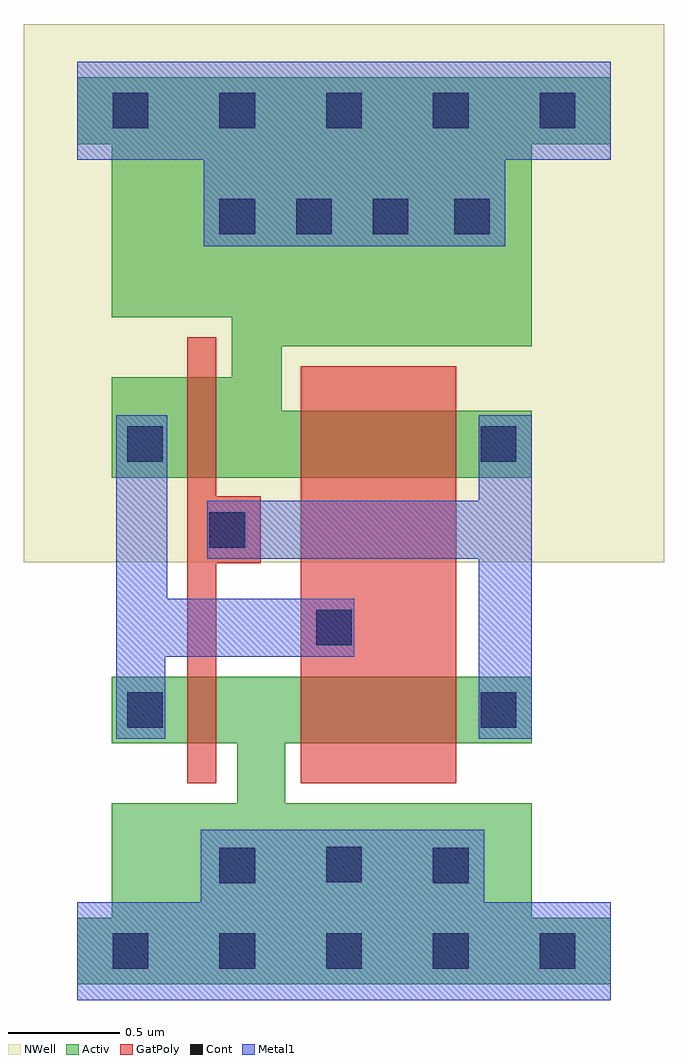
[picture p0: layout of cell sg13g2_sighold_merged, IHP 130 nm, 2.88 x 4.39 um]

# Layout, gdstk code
import gdstk
lib = gdstk.Library(unit=1e-6, precision=1e-09)
def R(c, l, rs):  # rectangles x0, y0, x1, y1
    for r in rs: c.add(gdstk.rectangle(r[:2], r[2:], *l))
def A(c, l, x, y, w, h, nx, ny, dx, dy):  # array of equal rectangles
    R(c, l, [(x+i*dx, y+j*dy, x+i*dx+w, y+j*dy+h) for i in range(nx) for j in range(ny)])
def P(c, l, *ps):  # polygons
    for p in ps: c.add(gdstk.Polygon(p, *l))
Activ = (1, 0)
GatPoly = (5, 0)
Cont = (6, 0)
Metal1 = (8, 0)
NWell = (31, 0)

sg13g2_sighold_merged = lib.new_cell('sg13g2_sighold_merged')
P(sg13g2_sighold_merged, Activ, [(0,-0.15),(0,0.15),(0.155,0.15),(0.155,0.665),(0.72,0.665),(0.72,0.935),(0.155,0.935),(0.155,1.235),(2.045,1.235),(2.045,0.935),(0.935,0.935),(0.935,0.665),(2.045,0.665),(2.045,0.15),(2.4,0.15),(2.4,-0.15)],
  [(0.155,2.13),(0.155,2.58),(0.695,2.58),(0.695,2.85),(0.155,2.85),(0.155,3.63),(0,3.63),(0,3.93),(2.4,3.93),(2.4,3.63),(2.045,3.63),(2.045,2.72),(0.92,2.72),(0.92,2.43),(2.045,2.43),(2.045,2.13)])
R(sg13g2_sighold_merged, GatPoly, [(1.005,0.755,1.705,2.63)])
P(sg13g2_sighold_merged, GatPoly, [(0.495,0.755),(0.495,2.76),(0.625,2.76),(0.625,2.045),(0.825,2.045),(0.825,1.745),(0.625,1.745),(0.625,0.755)])
A(sg13g2_sighold_merged, Cont, 0.16, -0.08, 0.16, 0.16, 5, 2, 0.48, 3.78)
A(sg13g2_sighold_merged, Cont, 0.64, 3.225, 0.16, 0.16, 3, 1, 0.345, 0)
R(sg13g2_sighold_merged, Cont, [(0.64,0.305,0.8,0.465), (1.6,0.305,1.76,0.465), (1.12,0.31,1.28,0.47), (0.225,1.005,0.385,1.165), (1.815,1.005,1.975,1.165), (1.075,1.375,1.235,1.535), (0.595,1.815,0.755,1.975), (0.225,2.2,0.385,2.36), (1.815,2.2,1.975,2.36), (1.695,3.225,1.855,3.385)])
P(sg13g2_sighold_merged, Metal1, [(0,-0.22),(0,0.22),(0.555,0.22),(0.555,0.545),(1.83,0.545),(1.83,0.22),(2.4,0.22),(2.4,-0.22)],
  [(0.175,0.955),(0.175,2.41),(0.405,2.41),(0.405,1.585),(1.245,1.585),(1.245,1.325),(0.395,1.325),(0.395,0.955)],
  [(1.805,0.955),(1.805,1.765),(0.585,1.765),(0.585,2.025),(1.805,2.025),(1.805,2.41),(2.045,2.41),(2.045,0.955)],
  [(0.57,3.17),(0.57,3.56),(0,3.56),(0,4),(2.4,4),(2.4,3.56),(1.925,3.56),(1.925,3.17)])
R(sg13g2_sighold_merged, NWell, [(-0.24,1.75,2.64,4.17)])

lib.write_gds('sg13g2_sighold_merged.gds')
